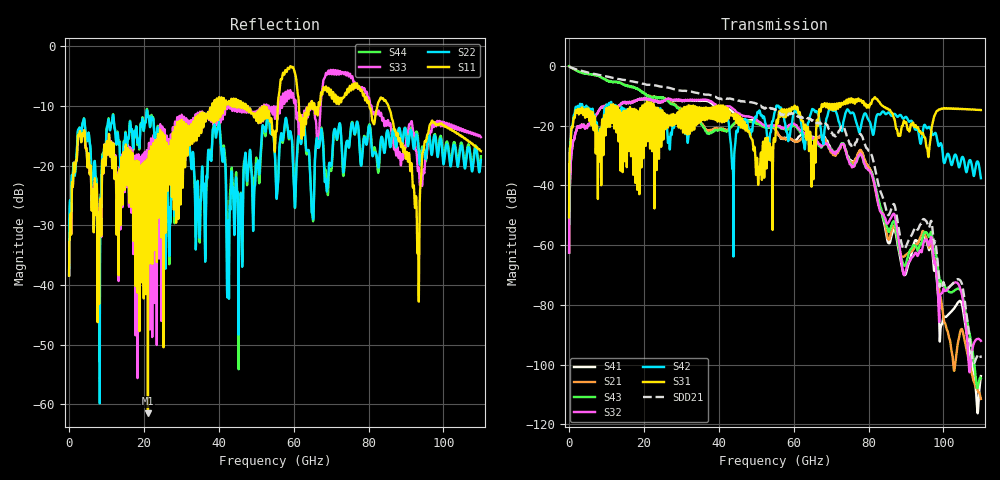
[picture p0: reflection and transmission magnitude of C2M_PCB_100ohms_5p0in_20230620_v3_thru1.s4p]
! Info: Touchstone file created by Circ.  Input file=C2M_PCB_100ohms_5p0in_20230620_v3.circ
# Hz S RI R 50
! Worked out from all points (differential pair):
!   11000 points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, 10 MHz to 110 GHz, reference 50 ohm
!   strongest paths, dB at 10 MHz, 27.51 GHz, 55.01 GHz, 82.51 GHz, 110 GHz:
!     S31: -50.7, -19.8, -25.4, -11.7, -14.8
!     S42: -50.6, -21.8, -15.3, -16.1, -37.6
!     S32: -62.5, -11.3, -19.9, -45.8, -92.0
!     S43: -0.1, -12.8, -20.2, -44.0, -104.6
!     S21: -0.1, -12.5, -20.8, -45.9, -111.5
!     S41: -62.5, -11.5, -21.0, -44.8, -103.8
!   taken as a pair (ports 3,1 in; 4,2 out), SDD21 dB: -0.1, -7.6, -14.5, -39.1, -97.7
!   lowest |S11| = -61.5 dB at 21.06 GHz (marker M1), VSWR 1.00, Z = 50 + j0.0837 ohm
!   |S11| at or under -10 dB: start of sweep to 38.2 GHz; 47.72 GHz to 52.08 GHz (4.355 GHz wide, 8.73 % of centre); 85.29 GHz to end of sweep (the widest 3 of 22)
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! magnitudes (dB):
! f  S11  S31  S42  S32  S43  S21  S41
! 10 MHz  -38.4  -50.7  -50.6  -62.5  -0.1  -0.1  -62.5
! 2.3 GHz  -15.7  -14.4  -13.4  -20.2  -1.8  -1.8  -20.2
! 21.06 GHz  -61.5  -25.1  -20.4  -11.0  -9.9  -9.9  -11.1
! 50.44 GHz  -11.3  -37.6  -15.4  -18.4  -19.5  -19.2  -19.1
! 77.97 GHz  -7.4  -11.4  -20.3  -29.6  -29.7  -28.3  -28.4
! 89.49 GHz  -17.2  -18.4  -17.5  -70.0  -66.9  -63.8  -69.9
! 110 GHz  -17.6  -14.8  -37.6  -92.0  -104.6  -111.5  -103.8
